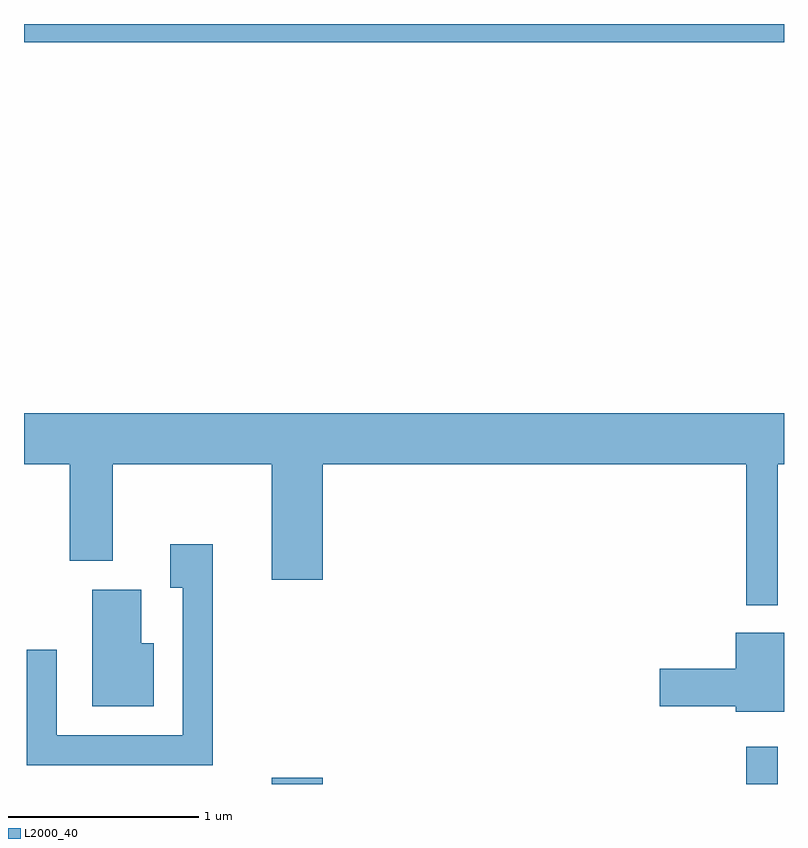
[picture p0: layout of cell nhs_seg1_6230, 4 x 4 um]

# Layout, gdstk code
import gdstk
lib = gdstk.Library(unit=1e-6, precision=1e-09)
def R(c, l, rs):  # rectangles x0, y0, x1, y1
    for r in rs: c.add(gdstk.rectangle(r[:2], r[2:], *l))
def P(c, l, *ps):  # polygons
    for p in ps: c.add(gdstk.Polygon(p, *l))
L2000_40 = (2000, 40)

nhs_seg1_6230 = lib.new_cell('nhs_seg1_6230')
R(nhs_seg1_6230, L2000_40, [(374.916,855.712,375.184,855.744), (377.411,855.712,377.579,855.908), (373.611,859.616,377.611,859.712)])
P(nhs_seg1_6230, L2000_40, [(377.579,857.396),(377.611,857.396),(377.611,857.664),(373.611,857.664),(373.611,857.396),(373.851,857.396),(373.851,856.886),(374.079,856.886),(374.079,857.396),(374.916,857.396),(374.916,856.786),(375.184,856.786),(375.184,857.396),(377.411,857.396),(377.411,856.653),(377.579,856.653)],
  [(374.604,856.974),(374.381,856.974),(374.381,856.746),(374.446,856.746),(374.446,855.969),(373.784,855.969),(373.784,856.418),(373.626,856.418),(373.626,855.811),(374.604,855.811)],
  [(374.294,856.454),(374.229,856.454),(374.229,856.734),(373.971,856.734),(373.971,856.121),(374.294,856.121)],
  [(377.611,856.509),(377.356,856.509),(377.356,856.319),(376.956,856.319),(376.956,856.121),(377.356,856.121),(377.356,856.091),(377.611,856.091)])

lib.write_gds('nhs_seg1_6230.gds')
